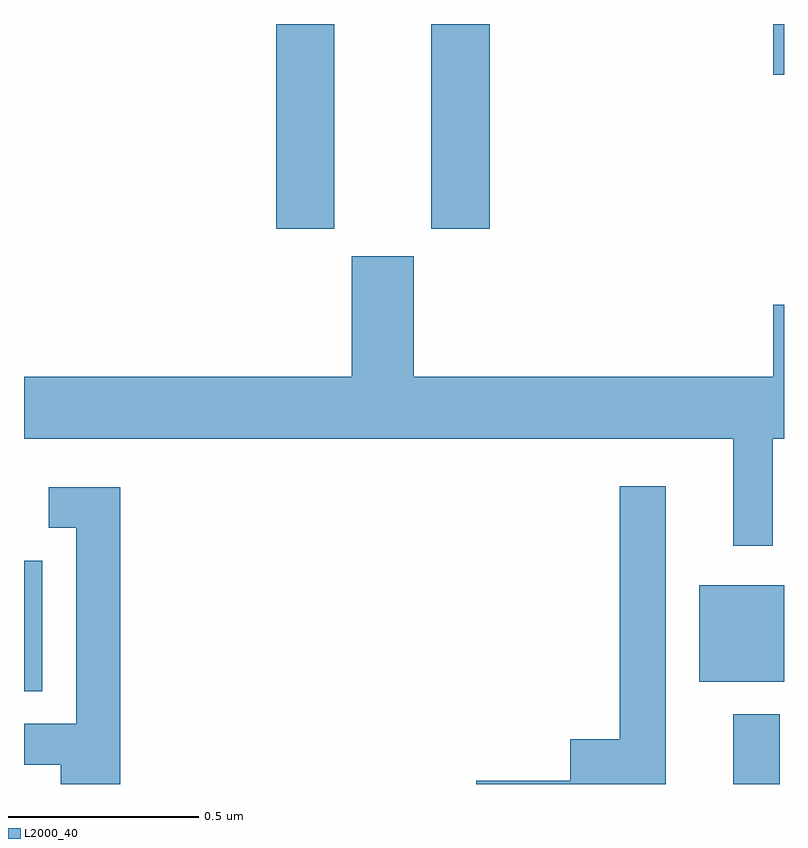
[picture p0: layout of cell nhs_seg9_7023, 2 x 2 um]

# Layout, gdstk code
import gdstk
lib = gdstk.Library(unit=1e-6, precision=1e-09)
def R(c, l, rs):  # rectangles x0, y0, x1, y1
    for r in rs: c.add(gdstk.rectangle(r[:2], r[2:], *l))
def P(c, l, *ps):  # polygons
    for p in ps: c.add(gdstk.Polygon(p, *l))
L2000_40 = (2000, 40)

nhs_seg9_7023 = lib.new_cell('nhs_seg9_7023')
R(nhs_seg9_7023, L2000_40, [(200.867,1207.5,200.989,1207.684), (199,1207.744,199.048,1208.088), (200.777,1207.769,201,1208.023), (199.664,1208.961,199.816,1209.5), (200.072,1208.961,200.225,1209.5), (200.972,1209.366,201,1209.5)])
P(nhs_seg9_7023, L2000_40, [(200.971,1208.408),(201,1208.408),(201,1208.761),(200.972,1208.761),(200.972,1208.572),(200.026,1208.572),(200.026,1208.889),(199.862,1208.889),(199.862,1208.572),(199,1208.572),(199,1208.408),(200.867,1208.408),(200.867,1208.127),(200.971,1208.127)],
  [(200.689,1208.284),(200.568,1208.284),(200.568,1207.618),(200.438,1207.618),(200.438,1207.508),(200.19,1207.508),(200.19,1207.5),(200.689,1207.5)],
  [(199.253,1208.281),(199.065,1208.281),(199.065,1208.175),(199.137,1208.175),(199.137,1207.659),(199,1207.659),(199,1207.563),(199.001,1207.563),(199.001,1207.551),(199.097,1207.551),(199.097,1207.5),(199.253,1207.5)])

lib.write_gds('nhs_seg9_7023.gds')
